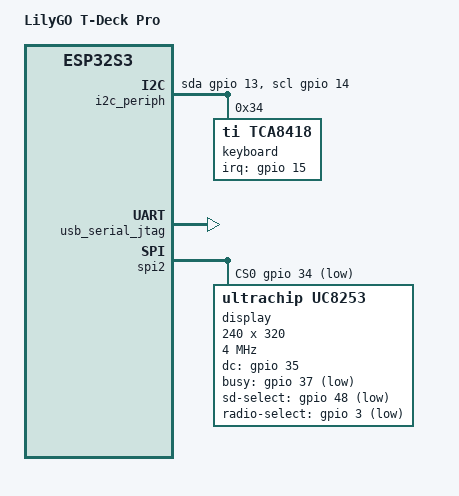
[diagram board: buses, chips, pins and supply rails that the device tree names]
// SPDX-License-Identifier: (GPL-2.0-only OR BSD-2-Clause)

/dts-v1/;
#include <dt-bindings/gpio/gpio.h>
#include <dt-bindings/input/input.h>
#include <dt-bindings/interrupt-controller/irq.h>
#include <dt-bindings/pinctrl/esp32s3-pinctrl.h>
#include "espressif/esp32s3.dtsi"

/ {
	model = "LilyGO T-Deck Pro";
	compatible = "lilygo,t-deck-pro", "esp,esp32s3";

	chosen {
		stdout-path = &usb_serial_jtag;
	};

	i2c_periph: i2c {
		compatible = "i2c-gpio";
		#address-cells = <1>;
		#size-cells = <0>;
		sda-gpios = <&gpio 13 (GPIO_OPEN_DRAIN | GPIO_PULL_UP)>;
		scl-gpios = <&gpio 14 (GPIO_OPEN_DRAIN | GPIO_PULL_UP)>;

		keyboard@34 {
			compatible = "ti,tca8418";
			reg = <0x34>;
			interrupt-parent = <&gpio>;
			interrupts = <15 IRQ_TYPE_EDGE_FALLING>;
			keypad,num-rows = <4>;
			keypad,num-columns = <10>;
			// U, D, Backspace and Enter in the T-Deck Pro matrix.
			linux,keymap = <((0 << 24) | (6 << 16) | KEY_UP)
					((1 << 24) | (2 << 16) | KEY_DOWN)
					((1 << 24) | (9 << 16) | KEY_BACK)
					((2 << 24) | (9 << 16) | KEY_SELECT)>;
		};
	};

	flash0: flash@0 {
		compatible = "esp,esp32s3-flash";
		reg = <0 0x1000000>;
	};
};

&gpio {
	status = "okay";
};

&usb_serial_jtag {
	status = "okay";
};

&io_mux {
	spi2_default: spi2-default-state {
		out-pins {
			pinmux = <ESP32S3_PINMUX(36, ESP32S3_NOSIG, ESP32S3_SIG_FSPICLK)>,
				 <ESP32S3_PINMUX(33, ESP32S3_NOSIG, ESP32S3_SIG_FSPID)>;
		};
	};
};

&spi2 {
	pinctrl-0 = <&spi2_default>;
	pinctrl-names = "default";
	cs-gpios = <&gpio 34 GPIO_ACTIVE_LOW>;
	status = "okay";

	display: display@0 {
		compatible = "ultrachip,uc8253";
		reg = <0>;
		spi-max-frequency = <4000000>;
		dc-gpios = <&gpio 35 GPIO_ACTIVE_HIGH>;
		busy-gpios = <&gpio 37 (GPIO_ACTIVE_LOW | GPIO_PULL_UP)>;
		// Leave the other devices on the shared bus deselected.
		sd-select-gpios = <&gpio 48 GPIO_ACTIVE_LOW>;
		radio-select-gpios = <&gpio 3 GPIO_ACTIVE_LOW>;
		width = <240>;
		height = <320>;
	};
};

&cpu0 {
	clock-frequency = <240000000>;
};

&clk_apb {
	clock-frequency = <80000000>;
};
